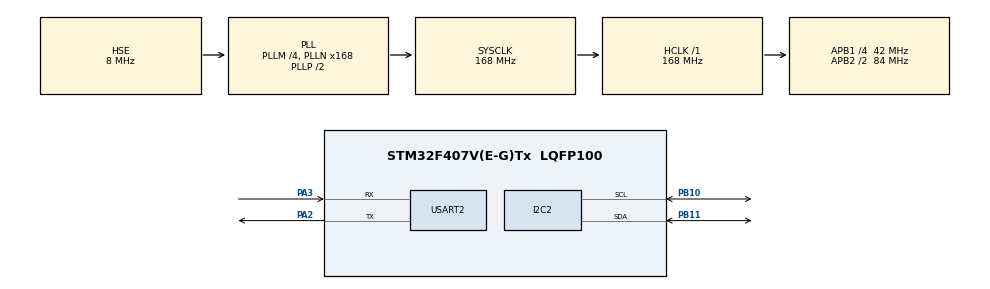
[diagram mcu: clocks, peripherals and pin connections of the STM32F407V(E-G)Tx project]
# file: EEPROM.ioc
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Mcu.Family=STM32F4
Mcu.Name=STM32F407V(E-G)Tx
Mcu.Package=LQFP100
NVIC.PriorityGroup=NVIC_PRIORITYGROUP_4
PA2.Mode=Asynchronous
PA2.Signal=USART2_TX
PA3.Mode=Asynchronous
PA3.Signal=USART2_RX
PB10.Mode=I2C
PB10.Signal=I2C2_SCL
PB11.Mode=I2C
PB11.Signal=I2C2_SDA
PH0-OSC_IN.Mode=HSE-External-Oscillator
PH0-OSC_IN.Signal=RCC_OSC_IN
PH1-OSC_OUT.Mode=HSE-External-Oscillator
PH1-OSC_OUT.Signal=RCC_OSC_OUT
ProjectManager.HeapSize=0x200
ProjectManager.StackSize=0x400
ProjectManager.TargetToolchain=MDK-ARM V5
RCC.48MHZClocksFreq_Value=84000000
RCC.AHBFreq_Value=168000000
RCC.APB1CLKDivider=RCC_HCLK_DIV4
RCC.APB1Freq_Value=42000000
RCC.APB1TimFreq_Value=84000000
RCC.APB2CLKDivider=RCC_HCLK_DIV2
RCC.APB2Freq_Value=84000000
RCC.APB2TimFreq_Value=168000000
RCC.CortexFreq_Value=168000000
RCC.HCLKFreq_Value=168000000
RCC.HSE_VALUE=8000000
RCC.HSI_VALUE=16000000
RCC.LSE_VALUE=32768
RCC.PLLM=4
RCC.PLLN=168
RCC.PLLSourceVirtual=RCC_PLLSOURCE_HSE
RCC.SYSCLKFreq_VALUE=168000000
RCC.SYSCLKSource=RCC_SYSCLKSOURCE_PLLCLK
RCC.VCOOutputFreq_Value=336000000
USART2.VirtualMode=VM_ASYNC
board=custom

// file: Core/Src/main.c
/* USER CODE BEGIN Header */
/**
  ******************************************************************************
  * @file           : main.c
  * @brief          : Main program body
  ******************************************************************************
  * @attention
  *
  * Copyright (c) 2023 STMicroelectronics.
  * All rights reserved.
  *
  * This software is licensed under terms that can be found in the LICENSE file
  * in the root directory of this software component.
  * If no LICENSE file comes with this software, it is provided AS-IS.
  *
  ******************************************************************************
  */
/* USER CODE END Header */
#include "main.h"
#include "i2c.h"
#include "usart.h"
#include "gpio.h"

/* USER CODE BEGIN Includes */
#include <stdio.h>
/* USER CODE END Includes */

/* USER CODE BEGIN PTD */

// su dung uart debug
int fputc(int ch, FILE * f) {
  HAL_UART_Transmit( & huart2, (uint8_t * ) & ch, 1, HAL_MAX_DELAY);
  return ch;
}
/* USER CODE END PTD */

void SystemClock_Config(void);

/* USER CODE BEGIN 0 */
#define SLAVE_ADDRESS_EEPROM 0x50 // change this according to ur setup

void write_eeprom (int address ,int value)
{
	uint8_t data_t[4];

	data_t[0] = address;
	data_t[1] = value;
	HAL_I2C_Master_Transmit (&hi2c2, SLAVE_ADDRESS_EEPROM << 1,(uint8_t *) data_t, 2, HAL_MAX_DELAY);
	HAL_Delay(10); // tWR Write Cycle Time 5 ms
	printf("write_eeprom at 0x%X \r\n",address);
}

uint8_t read_eeprom(uint16_t register_pointer)
{
	HAL_StatusTypeDef status = HAL_OK;
	uint8_t return_value = 0;

	status = HAL_I2C_Mem_Read(&hi2c2, SLAVE_ADDRESS_EEPROM << 1, (uint16_t)register_pointer, I2C_MEMADD_SIZE_8BIT, &return_value, 1, 100);

	/* Check the communication status */
	if(status != HAL_OK)
	{

	}
	printf("return_value for 0x%X : 0x%X \r\n",register_pointer, return_value);
	return return_value;
}

/* USER CODE END 0 */

int main(void)
{

  /* MCU Configuration--------------------------------------------------------*/

  /* Reset of all peripherals, Initializes the Flash interface and the Systick. */
  HAL_Init();

  /* Configure the system clock */
  SystemClock_Config();

  /* Initialize all configured peripherals */
  MX_GPIO_Init();
  MX_I2C2_Init();
  MX_USART2_UART_Init();
  /* USER CODE BEGIN 2 */
	for(int i=1; i<128; i++)
	{
			int ret = HAL_I2C_IsDeviceReady(&hi2c2, (uint16_t)(i<<1), 3, 5);
			if (ret != HAL_OK) /* No ACK Received At That Address */
			{
					printf("- \r\n");
			}
			else if(ret == HAL_OK)
			{
				printf("HAL_I2C_IsDeviceReady: 0x%X \r\n",i);

			}
	}
  /* USER CODE END 2 */

  /* Infinite loop */
  while (1)
  {

    /* USER CODE BEGIN 3 */

		printf("hello word!!");
		for(int i = 0 ; i <= 0xFF ; i++)
		{
			write_eeprom(i, i);
			read_eeprom(i);
		}

		printf("=====================\r\n");
		HAL_Delay(500);
  }
  /* USER CODE END 3 */
}

void SystemClock_Config(void)
{
  RCC_OscInitTypeDef RCC_OscInitStruct = {0};
  RCC_ClkInitTypeDef RCC_ClkInitStruct = {0};

  /** Configure the main internal regulator output voltage
  */
  __HAL_RCC_PWR_CLK_ENABLE();
  __HAL_PWR_VOLTAGESCALING_CONFIG(PWR_REGULATOR_VOLTAGE_SCALE1);

  /** Initializes the RCC Oscillators according to the specified parameters
  * in the RCC_OscInitTypeDef structure.
  */
  RCC_OscInitStruct.OscillatorType = RCC_OSCILLATORTYPE_HSE;
  RCC_OscInitStruct.HSEState = RCC_HSE_ON;
  RCC_OscInitStruct.PLL.PLLState = RCC_PLL_ON;
  RCC_OscInitStruct.PLL.PLLSource = RCC_PLLSOURCE_HSE;
  RCC_OscInitStruct.PLL.PLLM = 4;
  RCC_OscInitStruct.PLL.PLLN = 168;
  RCC_OscInitStruct.PLL.PLLP = RCC_PLLP_DIV2;
  RCC_OscInitStruct.PLL.PLLQ = 4;
  if (HAL_RCC_OscConfig(&RCC_OscInitStruct) != HAL_OK)
  {
    Error_Handler();
  }

  /** Initializes the CPU, AHB and APB buses clocks
  */
  RCC_ClkInitStruct.ClockType = RCC_CLOCKTYPE_HCLK|RCC_CLOCKTYPE_SYSCLK
                              |RCC_CLOCKTYPE_PCLK1|RCC_CLOCKTYPE_PCLK2;
  RCC_ClkInitStruct.SYSCLKSource = RCC_SYSCLKSOURCE_PLLCLK;
  RCC_ClkInitStruct.AHBCLKDivider = RCC_SYSCLK_DIV1;
  RCC_ClkInitStruct.APB1CLKDivider = RCC_HCLK_DIV4;
  RCC_ClkInitStruct.APB2CLKDivider = RCC_HCLK_DIV2;

  if (HAL_RCC_ClockConfig(&RCC_ClkInitStruct, FLASH_LATENCY_5) != HAL_OK)
  {
    Error_Handler();
  }
}

void Error_Handler(void)
{
  __disable_irq();
  while (1)
  {
  }
}
